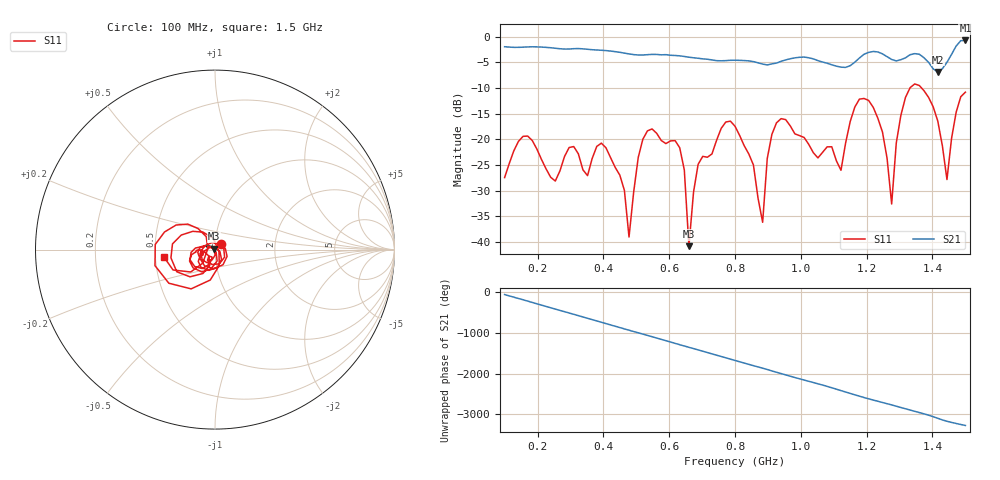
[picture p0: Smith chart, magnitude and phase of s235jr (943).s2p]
! NanoVNA-App
! Date: 2025-09-25 15:11:30
! Start: 100MHz Stop: 1,5GHz Points: 101
! S-Parameter data: F S11 S21 S12 S22
# Hz S RI R 50
!  Frequency  S11_Real  S11_Imag  S21_Real  S21_Imag  S12_Real  S12_Imag  S22_Real  S22_Imag
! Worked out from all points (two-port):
!   101 points, 100 MHz to 1.5 GHz, reference 50 ohm
!   highest |S21| = -0.74 dB at 1.5 GHz (marker M1); lowest = -6.9 dB at 1.416 GHz (marker M2)
!   |S21| within 3 dB of the highest: start of sweep to 632.4 MHz; 1.186 GHz to 1.258 GHz (71.78 MHz wide, 5.87 % of centre) (the widest 2 of 4)
!   lowest |S11| = -40.8 dB at 660 MHz (marker M3), VSWR 1.02, Z = 49.3 + j0.552 ohm
!   |S11| at or under -10 dB: start of sweep to 1.332 GHz; 1.367 GHz to end of sweep
!   S12 and S22 are empty: the file has one direction only
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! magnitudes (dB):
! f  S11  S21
! 100 MHz  -27.5  -2.0
! 156 MHz  -19.4  -2.1
! 338 MHz  -26.0  -2.4
! 408 MHz  -21.7  -2.7
! 478 MHz  -39.0  -3.4
! 520 MHz  -20.0  -3.6
! 576 MHz  -20.2  -3.5
! 632 MHz  -21.7  -3.7
! 660 MHz  -40.8  -4.0
! 688 MHz  -24.9  -4.2
! 800 MHz  -17.5  -4.6
! 884 MHz  -36.2  -5.3
! 926 MHz  -16.8  -5.2
! 1.038 GHz  -22.6  -4.3
! 1.122 GHz  -26.0  -5.9
! 1.206 GHz  -12.4  -3.1
! 1.276 GHz  -32.6  -4.4
! 1.29 GHz  -20.7  -4.7
! 1.332 GHz  -9.9  -3.5
! 1.416 GHz  -16.4  -6.9
! 1.444 GHz  -27.8  -5.0
! 1.5 GHz  -10.8  -0.7
